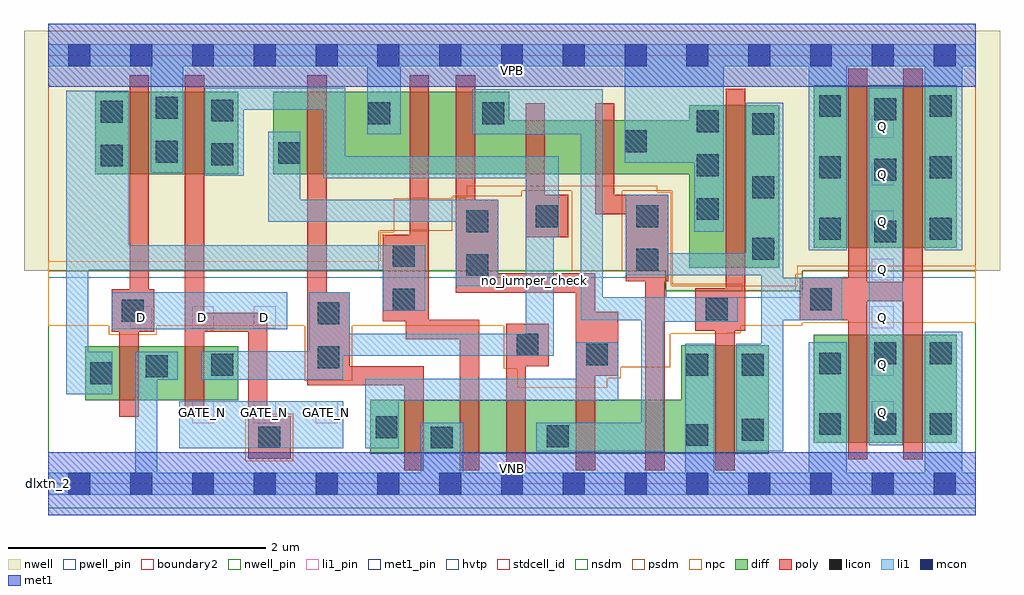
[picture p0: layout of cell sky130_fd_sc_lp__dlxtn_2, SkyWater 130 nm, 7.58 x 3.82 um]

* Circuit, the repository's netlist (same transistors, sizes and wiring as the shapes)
* Copyright 2020 The SkyWater PDK Authors
*
* Licensed under the Apache License, Version 2.0 (the "License");
* you may not use this file except in compliance with the License.
* You may obtain a copy of the License at
*
*     https://www.apache.org/licenses/LICENSE-2.0
*
* Unless required by applicable law or agreed to in writing, software
* distributed under the License is distributed on an "AS IS" BASIS,
* WITHOUT WARRANTIES OR CONDITIONS OF ANY KIND, either express or implied.
* See the License for the specific language governing permissions and
* limitations under the License.
*
* SPDX-License-Identifier: Apache-2.0

.SUBCKT sky130_fd_sc_lp__dlxtn_2 D GATE_N VGND VNB VPB VPWR Q
*.PININFO D:I GATE_N:I VGND:I VNB:I VPB:I VPWR:I Q:O
MI635 clkneg clkpos VPWR VPB sky130_fd_pr__pfet_01v8_hvt m=1 w=0.64U l=0.15U mult=1
+ sa=0.265 sb=0.265 sd=0.28 area=0.063 perim=1.14
MI17 M0 clkneg net51 VPB sky130_fd_pr__pfet_01v8_hvt m=1 w=0.64U l=0.15U mult=1
+ sa=0.265 sb=0.265 sd=0.28 area=0.063 perim=1.14
MI650 Q m1 VPWR VPB sky130_fd_pr__pfet_01v8_hvt m=2 w=1.26U l=0.15U mult=1 sa=0.265
+ sb=0.265 sd=0.28 area=0.063 perim=1.14
MI633 clkpos GATE_N VPWR VPB sky130_fd_pr__pfet_01v8_hvt m=1 w=0.64U l=0.15U mult=1
+ sa=0.265 sb=0.265 sd=0.28 area=0.063 perim=1.14
MI18 net51 db VPWR VPB sky130_fd_pr__pfet_01v8_hvt m=1 w=0.64U l=0.15U mult=1 sa=0.265
+ sb=0.265 sd=0.28 area=0.063 perim=1.14
MI653 net59 m1 VPWR VPB sky130_fd_pr__pfet_01v8_hvt m=1 w=0.42U l=0.15U mult=1
+ sa=0.265 sb=0.265 sd=0.28 area=0.063 perim=1.14
MI651 M0 clkpos net59 VPB sky130_fd_pr__pfet_01v8_hvt m=1 w=0.42U l=0.15U mult=1
+ sa=0.265 sb=0.265 sd=0.28 area=0.063 perim=1.14
MI655 m1 M0 VPWR VPB sky130_fd_pr__pfet_01v8_hvt m=1 w=1.26U l=0.15U mult=1 sa=0.265
+ sb=0.265 sd=0.28 area=0.063 perim=1.14
MI638 db D VPWR VPB sky130_fd_pr__pfet_01v8_hvt m=1 w=0.64U l=0.15U mult=1 sa=0.265
+ sb=0.265 sd=0.28 area=0.063 perim=1.14
MI634 clkpos GATE_N VGND VNB sky130_fd_pr__nfet_01v8 m=1 w=0.42U l=0.15U mult=1
+ sa=0.265 sb=0.265 sd=0.28 area=0.063 perim=1.14
MI649 Q m1 VGND VNB sky130_fd_pr__nfet_01v8 m=2 w=0.84U l=0.15U mult=1 sa=0.265
+ sb=0.265 sd=0.28 area=0.063 perim=1.14
MI652 M0 clkneg net102 VNB sky130_fd_pr__nfet_01v8 m=1 w=0.42U l=0.15U mult=1 sa=0.265
+ sb=0.265 sd=0.28 area=0.063 perim=1.14
MI654 net102 m1 VGND VNB sky130_fd_pr__nfet_01v8 m=1 w=0.42U l=0.15U mult=1 sa=0.265
+ sb=0.265 sd=0.28 area=0.063 perim=1.14
MI656 m1 M0 VGND VNB sky130_fd_pr__nfet_01v8 m=1 w=0.84U l=0.15U mult=1 sa=0.265
+ sb=0.265 sd=0.28 area=0.063 perim=1.14
MI636 clkneg clkpos VGND VNB sky130_fd_pr__nfet_01v8 m=1 w=0.42U l=0.15U mult=1
+ sa=0.265 sb=0.265 sd=0.28 area=0.063 perim=1.14
MI637 db D VGND VNB sky130_fd_pr__nfet_01v8 m=1 w=0.42U l=0.15U mult=1 sa=0.265
+ sb=0.265 sd=0.28 area=0.063 perim=1.14
MI19 M0 clkpos net98 VNB sky130_fd_pr__nfet_01v8 m=1 w=0.42U l=0.15U mult=1 sa=0.265
+ sb=0.265 sd=0.28 area=0.063 perim=1.14
MI20 net98 db VGND VNB sky130_fd_pr__nfet_01v8 m=1 w=0.42U l=0.15U mult=1 sa=0.265
+ sb=0.265 sd=0.28 area=0.063 perim=1.14
.ENDS sky130_fd_sc_lp__dlxtn_2

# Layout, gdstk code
import gdstk
lib = gdstk.Library(unit=1e-6, precision=1e-09)
def R(c, l, rs):  # rectangles x0, y0, x1, y1
    for r in rs: c.add(gdstk.rectangle(r[:2], r[2:], *l))
def A(c, l, x, y, w, h, nx, ny, dx, dy):  # array of equal rectangles
    R(c, l, [(x+i*dx, y+j*dy, x+i*dx+w, y+j*dy+h) for i in range(nx) for j in range(ny)])
def P(c, l, *ps):  # polygons
    for p in ps: c.add(gdstk.Polygon(p, *l))
nwell_pin = (64, 16)
nwell = (64, 20)
diff = (65, 20)
poly = (66, 20)
licon = (66, 44)
li1_pin = (67, 16)
li1 = (67, 20)
mcon = (67, 44)
met1_pin = (68, 16)
met1 = (68, 20)
hvtp = (78, 44)
stdcell_id = (81, 4)
nsdm = (93, 44)
psdm = (94, 20)
npc = (95, 20)
pwell_pin = (122, 16)
boundary2 = (236, 0)

sky130_fd_sc_lp__dlxtn_2 = lib.new_cell('sky130_fd_sc_lp__dlxtn_2')
R(sky130_fd_sc_lp__dlxtn_2, nwell_pin, [(0,3.085,7.2,3.33)])
P(sky130_fd_sc_lp__dlxtn_2, nwell, [(7.39,3.52),(-0.19,3.52),(-0.19,1.655),(4.795,1.655),(4.795,1.5),(5.855,1.5),(5.855,1.655),(7.39,1.655)])
R(sky130_fd_sc_lp__dlxtn_2, diff, [(5.945,0.32,7.055,1.16), (0.285,0.65,1.475,1.07), (5.945,1.835,7.055,3.095), (0.365,2.405,1.475,3.045)])
P(sky130_fd_sc_lp__dlxtn_2, diff, [(5.595,1.075),(4.915,1.075),(4.915,0.655),(2.5,0.655),(2.5,0.235),(5.595,0.235)],
  [(5.675,2.94),(4.975,2.94),(4.975,2.825),(3.58,2.825),(3.58,3.045),(1.745,3.045),(1.745,2.405),(4.975,2.405),(4.975,1.68),(5.675,1.68)])
P(sky130_fd_sc_lp__dlxtn_2, poly, [(0.82,1.51),(0.78,1.51),(0.78,3.175),(0.63,3.175),(0.63,1.51),(0.49,1.51),(0.49,1.18),(0.55,1.18),(0.55,0.52),(0.7,0.52),(0.7,1.18),(0.82,1.18)],
  [(1.88,0.525),(1.7,0.525),(1.7,1.33),(1.21,1.33),(1.21,3.175),(1.06,3.175),(1.06,0.52),(1.21,0.52),(1.21,1.18),(1.55,1.18),(1.55,0.195),(1.88,0.195)],
  [(2.915,0.915),(2.34,0.915),(2.34,1.49),(2.16,1.49),(2.16,3.175),(2.01,3.175),(2.01,0.765),(2.765,0.765),(2.765,0.105),(2.915,0.105)],
  [(3.345,1.275),(2.955,1.275),(2.955,3.175),(2.805,3.175),(2.805,1.935),(2.595,1.935),(2.595,1.265),(2.775,1.265),(2.775,1.125),(3.195,1.125),(3.195,0.105),(3.345,0.105)],
  [(3.885,1.245),(3.555,1.245),(3.555,0.105),(3.705,0.105),(3.705,0.915),(3.885,0.915)],
  [(4.035,2.245),(3.855,2.245),(3.855,2.955),(3.705,2.955),(3.705,1.915),(4.035,1.915)],
  [(4.425,1.335),(4.245,1.335),(4.245,1.635),(3.495,1.635),(3.495,2.205),(3.315,2.205),(3.315,3.175),(3.165,3.175),(3.165,1.485),(4.095,1.485),(4.095,0.105),(4.245,0.105),(4.245,0.84),(4.425,0.84)],
  [(4.815,2.245),(4.395,2.245),(4.395,2.955),(4.245,2.955),(4.245,2.095),(4.485,2.095),(4.485,1.575),(4.635,1.575),(4.635,0.105),(4.785,0.105),(4.785,1.575),(4.815,1.575)],
  [(5.41,3.07),(5.26,3.07),(5.26,1.52),(5.025,1.52),(5.025,1.19),(5.18,1.19),(5.18,0.105),(5.33,0.105),(5.33,1.19),(5.41,1.19)],
  [(6.79,3.225),(6.64,3.225),(6.64,1.57),(6.36,1.57),(6.36,3.225),(6.21,3.225),(6.21,1.6),(5.835,1.6),(5.835,1.27),(6.21,1.27),(6.21,0.19),(6.36,0.19),(6.36,1.42),(6.64,1.42),(6.64,0.19),(6.79,0.19)])
A(sky130_fd_sc_lp__dlxtn_2, licon, 5.985, 0.38, 0.17, 0.17, 3, 1, 0.43, 0)
A(sky130_fd_sc_lp__dlxtn_2, licon, 5.035, 2.05, 0.17, 0.17, 1, 3, 0, 0.34)
R(sky130_fd_sc_lp__dlxtn_2, licon, [(1.63,0.275,1.8,0.445), (2.97,0.275,3.14,0.445), (3.87,0.285,4.04,0.455), (4.955,0.295,5.125,0.465), (5.385,0.335,5.555,0.505), (2.54,0.355,2.71,0.525), (0.325,0.775,0.495,0.945), (0.755,0.83,0.925,1), (1.265,0.84,1.435,1.01), (4.955,0.84,5.125,1.01), (5.385,0.84,5.555,1.01), (5.985,0.85,6.155,1.02), (2.09,0.9,2.26,1.07), (4.175,0.92,4.345,1.09), (6.415,0.93,6.585,1.1), (6.845,0.93,7.015,1.1), (3.635,0.995,3.805,1.165), (2.09,1.24,2.26,1.41), (0.57,1.26,0.74,1.43), (5.105,1.27,5.275,1.44), (2.675,1.345,2.845,1.515), (5.915,1.35,6.085,1.52), (3.245,1.615,3.415,1.785), (4.565,1.655,4.735,1.825), (2.675,1.685,2.845,1.855), (5.465,1.74,5.635,1.91), (6.415,1.875,6.585,2.045), (5.985,1.895,6.155,2.065), (6.845,1.895,7.015,2.065), (3.245,1.955,3.415,2.125), (3.785,1.995,3.955,2.165), (4.565,1.995,4.735,2.165), (5.465,2.22,5.635,2.39), (6.415,2.355,6.585,2.525), (5.985,2.375,6.155,2.545), (6.845,2.375,7.015,2.545), (0.405,2.465,0.575,2.635), (1.265,2.475,1.435,2.645), (1.785,2.485,1.955,2.655), (0.835,2.495,1.005,2.665), (4.475,2.575,4.645,2.745), (5.465,2.71,5.635,2.88), (2.485,2.795,2.655,2.965), (3.37,2.795,3.54,2.965), (0.405,2.805,0.575,2.975), (1.265,2.815,1.435,2.985), (6.415,2.825,6.585,2.995), (0.835,2.835,1.005,3.005), (5.985,2.85,6.155,3.02), (6.845,2.85,7.015,3.02)])
A(sky130_fd_sc_lp__dlxtn_2, li1_pin, 1.115, 0.47, 0.17, 0.17, 3, 1, 0.48, 0)
A(sky130_fd_sc_lp__dlxtn_2, li1_pin, 6.395, 0.47, 0.17, 0.17, 1, 7, 0, 0.37)
A(sky130_fd_sc_lp__dlxtn_2, li1_pin, 0.635, 1.21, 0.17, 0.17, 3, 1, 0.48, 0)
R(sky130_fd_sc_lp__dlxtn_2, li1, [(1.015,0.275,2.29,0.64), (6.37,0.3,6.635,3.075), (0.49,1.2,1.855,1.49)])
P(sky130_fd_sc_lp__dlxtn_2, li1, [(4.815,1.79),(5.415,1.79),(5.415,2.96),(5.705,2.96),(5.705,1.6),(6.165,1.6),(6.165,1.27),(5.705,1.27),(5.705,0.255),(5.34,0.255),(5.34,1.09),(5.535,1.09),(5.535,1.62),(4.485,1.62),(4.485,2.245),(4.815,2.245)],
  [(2.34,1.165),(3.705,1.165),(3.705,2.375),(2.135,2.375),(2.135,2.905),(1.515,2.905),(1.515,2.395),(1.215,2.395),(1.215,3.075),(2.305,3.075),(2.305,2.545),(3.965,2.545),(3.965,1.915),(3.925,1.915),(3.925,0.995),(2.29,0.995),(2.29,0.81),(1.185,0.81),(1.185,1.03),(2.025,1.03),(2.025,1.49),(2.34,1.49)],
  [(7.2,3.415),(0,3.415),(0,3.245),(0.795,3.245),(0.795,2.415),(1.045,2.415),(1.045,3.245),(2.475,3.245),(2.475,2.715),(2.735,2.715),(2.735,3.245),(4.475,3.245),(4.475,2.495),(5.015,2.495),(5.015,1.96),(5.245,1.96),(5.245,3.245),(5.905,3.245),(5.905,1.815),(6.2,1.815),(6.2,3.245),(6.805,3.245),(6.805,1.815),(7.095,1.815),(7.095,3.245),(7.2,3.245)],
  [(4.945,0.085),(4.945,1.09),(5.17,1.09),(5.17,0.085),(5.905,0.085),(5.905,1.1),(6.2,1.1),(6.2,0.085),(6.805,0.085),(6.805,1.18),(7.095,1.18),(7.095,0.085),(7.2,0.085),(7.2,-0.085),(0,-0.085),(0,0.085),(0.675,0.085),(0.675,1.025),(1.005,1.025),(1.005,0.81),(0.845,0.81),(0.845,0.085),(2.89,0.085),(2.89,0.475),(3.22,0.475),(3.22,0.085)],
  [(4.305,3.065),(4.305,1.45),(5.355,1.45),(5.355,1.26),(4.775,1.26),(4.775,0.255),(3.79,0.255),(3.79,0.475),(4.605,0.475),(4.605,1.27),(4.135,1.27),(4.135,2.715),(3.29,2.715),(3.29,3.065)],
  [(1.955,2.205),(3.495,2.205),(3.495,1.535),(3.165,1.535),(3.165,2.035),(1.705,2.035),(1.705,2.735),(1.955,2.735)],
  [(0.625,1.855),(2.925,1.855),(2.925,1.345),(2.595,1.345),(2.595,1.66),(0.31,1.66),(0.31,1.025),(0.495,1.025),(0.495,0.695),(0.14,0.695),(0.14,3.055),(0.625,3.055)],
  [(4.095,0.815),(4.095,1.1),(4.425,1.1),(4.425,0.645),(2.72,0.645),(2.72,0.275),(2.46,0.275),(2.46,0.815)])
A(sky130_fd_sc_lp__dlxtn_2, mcon, 0.155, -0.085, 0.17, 0.17, 15, 2, 0.48, 3.33)
R(sky130_fd_sc_lp__dlxtn_2, met1_pin, [(0,0,7.2,0.245), (0,3.085,7.2,3.33)])
R(sky130_fd_sc_lp__dlxtn_2, met1, [(0,-0.245,7.2,0.245), (0,3.085,7.2,3.575)])
P(sky130_fd_sc_lp__dlxtn_2, hvtp, [(7.2,3.33),(0,3.33),(0,1.6),(4.795,1.6),(4.795,1.445),(5.855,1.445),(5.855,1.6),(7.2,1.6)])
R(sky130_fd_sc_lp__dlxtn_2, stdcell_id, [(0,0,7.2,3.33)])
P(sky130_fd_sc_lp__dlxtn_2, nsdm, [(7.2,1.655),(5.855,1.655),(5.855,1.5),(4.795,1.5),(4.795,1.655),(0,1.655),(0,-0.19),(7.2,-0.19)])
P(sky130_fd_sc_lp__dlxtn_2, psdm, [(7.2,3.52),(0,3.52),(0,1.655),(2.565,1.655),(2.565,1.965),(3.135,1.965),(3.135,2.235),(3.675,2.235),(3.675,2.275),(4.065,2.275),(4.065,1.655),(4.455,1.655),(4.455,2.275),(4.845,2.275),(4.845,1.55),(5.385,1.55),(5.385,1.5),(5.805,1.5),(5.805,1.63),(5.855,1.63),(5.855,1.655),(7.2,1.655)])
R(sky130_fd_sc_lp__dlxtn_2, npc, [(1.53,0.175,1.9,0.545)])
P(sky130_fd_sc_lp__dlxtn_2, npc, [(7.2,1.695),(5.815,1.695),(5.815,1.54),(4.835,1.54),(4.835,2.265),(4.73,2.265),(4.73,2.315),(3.25,2.315),(3.25,2.225),(3.145,2.225),(3.145,2.22),(2.68,2.22),(2.68,1.955),(2.575,1.955),(2.575,1.73),(0,1.73),(0,1.23),(0.47,1.23),(0.47,1.16),(0.84,1.16),(0.84,1.23),(1.99,1.23),(1.99,0.8),(2.36,0.8),(2.36,1.23),(3.535,1.23),(3.535,0.895),(3.64,0.895),(3.64,0.745),(4.34,0.745),(4.34,0.82),(4.445,0.82),(4.445,0.905),(4.83,0.905),(4.83,1.165),(5.27,1.165),(5.27,1.17),(5.375,1.17),(5.375,1.23),(5.855,1.23),(5.855,1.25),(7.2,1.25)])
R(sky130_fd_sc_lp__dlxtn_2, pwell_pin, [(0,0,7.2,0.245)])
R(sky130_fd_sc_lp__dlxtn_2, boundary2, [(0,0,7.2,3.33)])
sky130_fd_sc_lp__dlxtn_2.add(gdstk.Label('VNB', (3.6,0.123), layer=64, texttype=59))
sky130_fd_sc_lp__dlxtn_2.add(gdstk.Label('VPB', (3.6,3.208), layer=64, texttype=5))
sky130_fd_sc_lp__dlxtn_2.add(gdstk.Label('dlxtn_2', (0,0), layer=83, texttype=44))
sky130_fd_sc_lp__dlxtn_2.add(gdstk.Label('no_jumper_check', (3.775,1.58), layer=83, texttype=44))
sky130_fd_sc_lp__dlxtn_2.add(gdstk.Label('VPWR', (3.6,3.208), layer=68, texttype=5))
sky130_fd_sc_lp__dlxtn_2.add(gdstk.Label('VGND', (3.6,0.123), layer=68, texttype=5))
sky130_fd_sc_lp__dlxtn_2.add(gdstk.Label('D', (0.72,1.295), layer=67, texttype=5))
sky130_fd_sc_lp__dlxtn_2.add(gdstk.Label('D', (1.2,1.295), layer=67, texttype=5))
sky130_fd_sc_lp__dlxtn_2.add(gdstk.Label('D', (1.68,1.295), layer=67, texttype=5))
sky130_fd_sc_lp__dlxtn_2.add(gdstk.Label('GATE_N', (1.2,0.555), layer=67, texttype=5))
sky130_fd_sc_lp__dlxtn_2.add(gdstk.Label('GATE_N', (1.68,0.555), layer=67, texttype=5))
sky130_fd_sc_lp__dlxtn_2.add(gdstk.Label('GATE_N', (2.16,0.555), layer=67, texttype=5))
sky130_fd_sc_lp__dlxtn_2.add(gdstk.Label('Q', (6.48,0.555), layer=67, texttype=5))
sky130_fd_sc_lp__dlxtn_2.add(gdstk.Label('Q', (6.48,0.925), layer=67, texttype=5))
sky130_fd_sc_lp__dlxtn_2.add(gdstk.Label('Q', (6.48,1.295), layer=67, texttype=5))
sky130_fd_sc_lp__dlxtn_2.add(gdstk.Label('Q', (6.48,1.665), layer=67, texttype=5))
sky130_fd_sc_lp__dlxtn_2.add(gdstk.Label('Q', (6.48,2.035), layer=67, texttype=5))
sky130_fd_sc_lp__dlxtn_2.add(gdstk.Label('Q', (6.48,2.405), layer=67, texttype=5))
sky130_fd_sc_lp__dlxtn_2.add(gdstk.Label('Q', (6.48,2.775), layer=67, texttype=5))

lib.write_gds('sky130_fd_sc_lp__dlxtn_2.gds')
